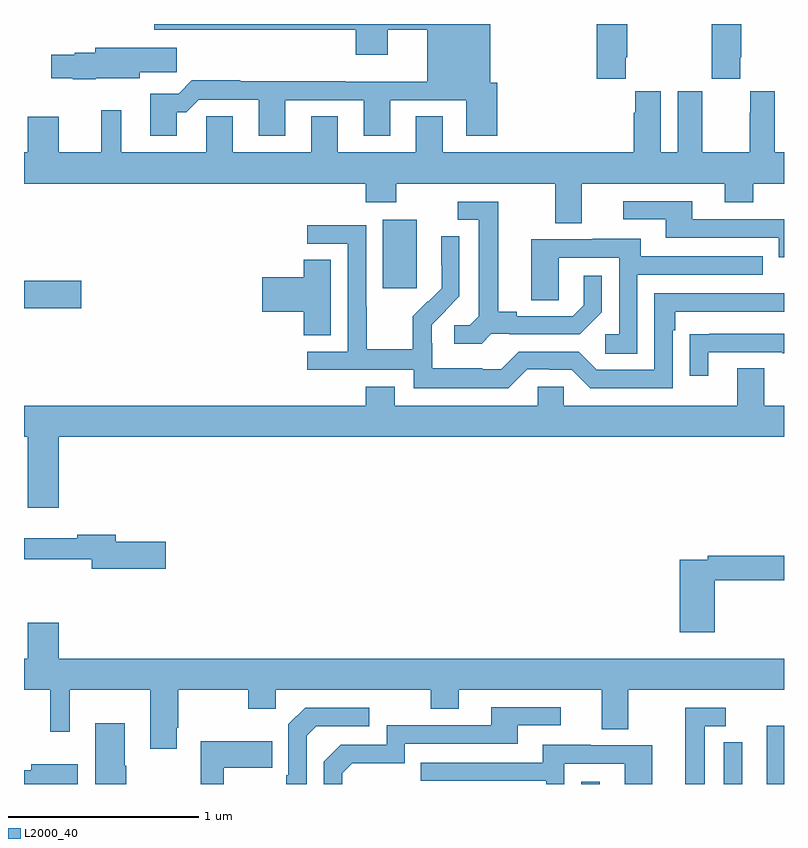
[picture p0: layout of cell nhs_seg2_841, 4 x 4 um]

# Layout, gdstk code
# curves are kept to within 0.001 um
import gdstk
lib = gdstk.Library(unit=1e-6, precision=1e-09)
def R(c, l, rs):  # rectangles x0, y0, x1, y1
    for r in rs: c.add(gdstk.rectangle(r[:2], r[2:], *l))
def P(c, l, *ps):  # polygons
    for p in ps: c.add(gdstk.Polygon(p, *l))
L2000_40 = (2000, 40)

nhs_seg2_841 = lib.new_cell('nhs_seg2_841')
R(nhs_seg2_841, L2000_40, [(155.934,653.8,156.031,653.812), (156.908,653.8,157,654.106), (153,656.303,153.301,656.45), (154.889,656.409,155.068,656.77)])
P(nhs_seg2_841, L2000_40, [(153.805,657.335),(153.854,657.335),(153.921,657.402),(154.235,657.402),(154.235,657.213),(154.375,657.213),(154.375,657.399),(154.787,657.399),(154.787,657.213),(154.927,657.213),(154.927,657.399),(155.327,657.399),(155.327,657.213),(155.492,657.213),(155.492,657.492),(155.455,657.492),(155.455,657.8),(153.686,657.8),(153.686,657.77),(154.745,657.77),(154.745,657.639),(154.915,657.639),(154.915,657.77),(155.123,657.77),(155.123,657.496),(154.691,657.496),(154.691,657.5),(154.139,657.5),(154.139,657.503),(153.884,657.503),(153.814,657.433),(153.665,657.433),(153.665,657.213),(153.805,657.213)],
  [(156.771,657.625),(156.774,657.625),(156.774,657.8),(156.619,657.8),(156.619,657.625),(156.621,657.625),(156.621,657.513),(156.771,657.513)],
  [(156.167,657.625),(156.174,657.625),(156.174,657.8),(156.014,657.8),(156.014,657.513),(156.167,657.513)],
  [(153.378,657.515),(153.61,657.515),(153.61,657.547),(153.805,657.547),(153.805,657.676),(153.374,657.676),(153.374,657.65),(153.267,657.65),(153.267,657.637),(153.144,657.637),(153.144,657.515),(153.256,657.515),(153.256,657.508),(153.378,657.508)],
  [(155.935,656.96),(156.689,656.96),(156.689,656.861),(156.837,656.861),(156.837,656.96),(157,656.96),(157,657.124),(156.952,657.124),(156.952,657.445),(156.822,657.445),(156.822,657.332),(156.821,657.332),(156.821,657.124),(156.571,657.124),(156.571,657.332),(156.57,657.332),(156.57,657.445),(156.44,657.445),(156.44,657.124),(156.352,657.124),(156.352,657.445),(156.218,657.445),(156.218,657.332),(156.209,657.332),(156.209,657.124),(155.203,657.124),(155.203,657.314),(155.063,657.314),(155.063,657.124),(154.651,657.124),(154.651,657.314),(154.511,657.314),(154.511,657.124),(154.099,657.124),(154.099,657.314),(153.96,657.314),(153.96,657.124),(153.511,657.124),(153.511,657.346),(153.407,657.346),(153.407,657.124),(153.184,657.124),(153.184,657.313),(153.02,657.313),(153.02,657.124),(153,657.124),(153,656.96),(154.799,656.96),(154.799,656.861),(154.959,656.861),(154.959,656.96),(155.795,656.96),(155.795,656.752),(155.935,656.752)],
  [(157,656.772),(156.517,656.772),(156.517,656.868),(156.153,656.868),(156.153,656.772),(156.377,656.772),(156.377,656.676),(156.972,656.676),(156.972,656.573),(157,656.573)],
  [(155.46,656.169),(155.554,656.169),(155.554,656.166),(155.926,656.166),(156.042,656.282),(156.042,656.476),(155.945,656.476),(155.945,656.319),(155.888,656.262),(155.593,656.262),(155.593,656.285),(155.497,656.285),(155.497,656.865),(155.283,656.865),(155.283,656.769),(155.393,656.769),(155.393,656.261),(155.346,656.214),(155.265,656.214),(155.265,656.117),(155.408,656.117)],
  [(155.649,655.983),(155.765,655.983),(155.765,655.98),(155.883,655.98),(155.979,655.884),(156.414,655.884),(156.414,656.189),(156.427,656.189),(156.427,656.286),(157,656.286),(157,656.382),(156.318,656.382),(156.318,655.98),(156.015,655.98),(155.919,656.076),(155.604,656.076),(155.511,655.983),(155.411,655.983),(155.411,655.987),(155.148,655.987),(155.148,656.121),(155.146,656.121),(155.146,656.218),(155.292,656.366),(155.292,656.684),(155.196,656.684),(155.196,656.53),(155.198,656.53),(155.198,656.408),(155.127,656.337),(155.124,656.34),(155.047,656.263),(155.047,656.089),(154.803,656.089),(154.803,656.312),(154.8,656.312),(154.8,656.742),(154.491,656.742),(154.491,656.643),(154.704,656.643),(154.704,656.076),(154.491,656.076),(154.491,655.98),(155.052,655.98),(155.052,655.883),(155.549,655.883)],
  [(156.228,656.481),(156.887,656.481),(156.887,656.577),(156.247,656.577),(156.247,656.671),(155.993,656.671),(155.993,656.667),(155.669,656.667),(155.669,656.347),(155.814,656.347),(155.814,656.571),(156.132,656.571),(156.132,656.166),(156.06,656.166),(156.06,656.065),(156.228,656.065)],
  [(154.615,656.558),(154.472,656.558),(154.472,656.468),(154.254,656.468),(154.254,656.285),(154.472,656.285),(154.472,656.161),(154.615,656.161)],
  [(156.601,656.073),(156.991,656.073),(156.991,656.068),(157,656.068),(157,656.169),(156.607,656.169),(156.607,656.168),(156.505,656.168),(156.505,655.95),(156.601,655.95)],
  [(153.184,655.628),(157,655.628),(157,655.792),(156.895,655.792),(156.895,655.987),(156.755,655.987),(156.755,655.792),(155.841,655.792),(155.841,655.89),(155.703,655.89),(155.703,655.792),(154.951,655.792),(154.951,655.891),(154.799,655.891),(154.799,655.792),(153,655.792),(153,655.628),(153.02,655.628),(153.02,655.254),(153.184,655.254)],
  [(153.745,655.076),(153.484,655.076),(153.484,655.112),(153.28,655.112),(153.28,655.093),(153,655.093),(153,654.984),(153.356,654.984),(153.356,654.934),(153.745,654.934)],
  [(156.635,654.873),(157,654.873),(157,655.001),(156.598,655.001),(156.598,654.981),(156.452,654.981),(156.452,654.6),(156.635,654.6)],
  [(153.805,654.097),(153.813,654.097),(153.813,654.296),(154.18,654.296),(154.18,654.197),(154.326,654.197),(154.326,654.296),(155.14,654.296),(155.14,654.197),(155.287,654.197),(155.287,654.296),(156.041,654.296),(156.041,654.088),(156.181,654.088),(156.181,654.296),(157,654.296),(157,654.46),(153.184,654.46),(153.184,654.649),(153.02,654.649),(153.02,654.46),(153,654.46),(153,654.296),(153.137,654.296),(153.137,654.075),(153.241,654.075),(153.241,654.296),(153.665,654.296),(153.665,653.985),(153.805,653.985)],
  [(154.674,653.856),(154.727,653.909),(155.004,653.909),(155.004,654.012),(155.599,654.012),(155.599,654.108),(155.824,654.108),(155.824,654.204),(155.459,654.204),(155.459,654.108),(154.908,654.108),(154.908,654.006),(154.668,654.006),(154.578,653.916),(154.578,653.8),(154.674,653.8)],
  [(156.583,654.105),(156.694,654.105),(156.694,654.201),(156.479,654.201),(156.479,653.8),(156.583,653.8)],
  [(154.488,654.054),(154.539,654.105),(154.816,654.105),(154.816,654.201),(154.479,654.201),(154.392,654.114),(154.392,653.845),(154.38,653.845),(154.38,653.8),(154.488,653.8)],
  [(153.537,653.897),(153.529,653.897),(153.529,654.121),(153.374,654.121),(153.374,653.8),(153.537,653.8)],
  [(154.051,653.885),(154.307,653.885),(154.307,654.025),(153.93,654.025),(153.93,653.8),(154.051,653.8)],
  [(156.779,653.866),(156.78,653.866),(156.78,654.02),(156.684,654.02),(156.684,653.8),(156.779,653.8)],
  [(155.844,653.907),(156.162,653.907),(156.162,653.8),(156.307,653.8),(156.307,654.003),(155.983,654.003),(155.983,654.007),(155.729,654.007),(155.729,653.913),(155.089,653.913),(155.089,653.817),(155.748,653.817),(155.748,653.8),(155.844,653.8)],
  [(153.283,653.905),(153.038,653.905),(153.038,653.873),(153,653.873),(153,653.8),(153.283,653.8)])

lib.write_gds('nhs_seg2_841.gds')
